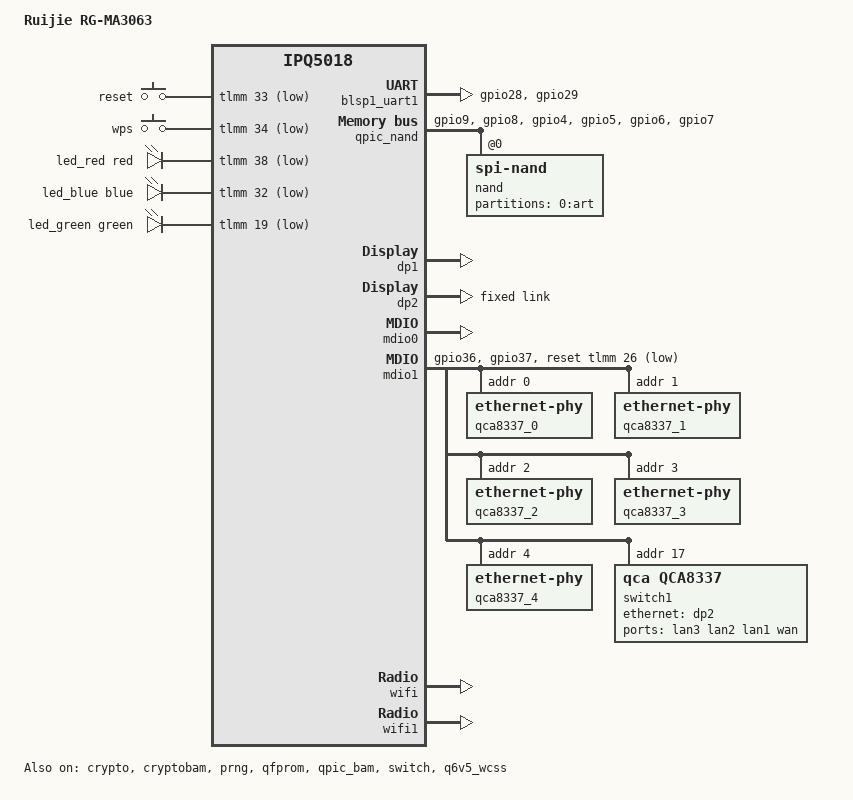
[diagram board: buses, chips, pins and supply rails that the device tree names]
// SPDX-License-Identifier: GPL-2.0-or-later OR MIT

/dts-v1/;

#include "ipq5018.dtsi"
#include "ipq5018-ess.dtsi"
#include "ipq5018-qcn6122.dtsi"

#include <dt-bindings/gpio/gpio.h>
#include <dt-bindings/input/input.h>
#include <dt-bindings/leds/common.h>

/ {
	model = "Ruijie RG-MA3063";
	compatible = "ruijie,rg-ma3063", "qcom,ipq5018";

	aliases {
		serial0 = &blsp1_uart1;
		led-boot = &led_green;
		led-failsafe = &led_red;
		led-running = &led_green;
		led-upgrade = &led_red;
		label-mac-device = <&dp1>;
	};

	chosen {
		bootargs-append = " root=/dev/ubiblock0_1 swiotlb=1 coherent_pool=2M";
		stdout-path = "serial0:115200n8";
	};

	keys {
		compatible = "gpio-keys";
		pinctrl-0 = <&button_pins>;
		pinctrl-names = "default";

		reset-button {
			label = "reset";
			gpios = <&tlmm 33 GPIO_ACTIVE_LOW>;
			linux,code = <KEY_RESTART>;
		};

		wps-button {
			label = "wps";
			gpios = <&tlmm 34 GPIO_ACTIVE_LOW>;
			linux,code = <KEY_WPS_BUTTON>;
		};
	};

	leds {
		compatible = "gpio-leds";
		pinctrl-0 = <&led_pins>;
		pinctrl-names = "default";

		led_red: led-red {
			gpios = <&tlmm 38 GPIO_ACTIVE_LOW>;
			color = <LED_COLOR_ID_RED>;
			function = LED_FUNCTION_STATUS;
		};

		led_blue: led-blue {
			gpios = <&tlmm 32 GPIO_ACTIVE_LOW>;
			color = <LED_COLOR_ID_BLUE>;
			function = LED_FUNCTION_STATUS;
		};

		led_green: led-green {
			gpios = <&tlmm 19 GPIO_ACTIVE_LOW>;
			color = <LED_COLOR_ID_GREEN>;
			function = LED_FUNCTION_STATUS;
		};
	};
};

&sleep_clk {
	clock-frequency = <32000>;
};

&xo_board_clk {
	clock-div = <4>;
	clock-mult = <1>;
};

&blsp1_uart1 {
	status = "okay";

	pinctrl-0 = <&serial_0_pins>;
	pinctrl-names = "default";
};

&crypto {
	status = "okay";
};

&cryptobam {
	status = "okay";
};

&prng {
	status = "okay";
};

&qfprom {
	status = "okay";
};

&qpic_bam {
	status = "okay";
};

&qpic_nand {
	pinctrl-0 = <&qpic_pins>;
	pinctrl-names = "default";
	status = "okay";

	nand@0 {
		compatible = "spi-nand";
		reg = <0>;
		nand-ecc-engine = <&qpic_nand>;
		nand-bus-width = <8>;

		partitions {
			compatible = "qcom,smem-part";

			partition-art {
				label = "0:art";
				read-only;

				nvmem-layout {
					compatible = "fixed-layout";
					#address-cells = <1>;
					#size-cells = <1>;

					hw_mac_addr: mac-address@0 {
						compatible = "mac-base";
						reg = <0x0 0x6>;
						#nvmem-cell-cells = <1>;
					};
				};
			};
		};
	};
};

&switch {
	status = "okay";

	switch_mac_mode = <MAC_MODE_SGMII_CHANNEL0>;

	qcom,port_phyinfo {
		port@0 {
			port_id = <1>;
			mdiobus = <&mdio0>;
			phy_address = <7>;
		};

		port@1 {
			port_id = <2>;
			mdiobus = <&mdio1>;
			forced-speed = <1000>;
			forced-duplex = <1>;
		};
	};
};

&dp1 {
	status = "okay";

	nvmem-cells = <&hw_mac_addr 0>;
	nvmem-cell-names = "mac-address";
};

&dp2 {
	status = "okay";

	nvmem-cells = <&hw_mac_addr 1>;
	nvmem-cell-names = "mac-address";

	fixed-link {
		speed = <1000>;
		full-duplex;
	};
};

&mdio0 {
	status = "okay";
};

&ge_phy {
	qcom,dac-preset-short-cable;
};

&mdio1 {
	status = "okay";

	pinctrl-0 = <&mdio1_pins>;
	pinctrl-names = "default";
	reset-gpios = <&tlmm 26 GPIO_ACTIVE_LOW>;
	reset-delay-us = <10000>;
	reset-post-delay-us = <150000>;

	qca8337_0: ethernet-phy@0 {
		reg = <0>;
	};

	qca8337_1: ethernet-phy@1 {
		reg = <1>;
	};

	qca8337_2: ethernet-phy@2 {
		reg = <2>;
	};

	qca8337_3: ethernet-phy@3 {
		reg = <3>;
	};

	qca8337_4: ethernet-phy@4 {
		reg = <4>;
	};

	switch1: ethernet-switch@17 {
		compatible = "qca,qca8337";
		reg = <17>;
		#address-cells = <1>;
		#size-cells = <0>;

		ports {
			#address-cells = <1>;
			#size-cells = <0>;

			port@1 {
				reg = <1>;
				label = "lan3";
				phy-handle = <&qca8337_0>;
			};

			port@2 {
				reg = <2>;
				label = "lan2";
				phy-handle = <&qca8337_1>;
			};

			port@3 {
				reg = <3>;
				label = "lan1";
				phy-handle = <&qca8337_2>;
			};

			port@4 {
				reg = <4>;
				label = "wan";
				phy-handle = <&qca8337_3>;
			};

			port@6 {
				reg = <6>;
				phy-mode = "sgmii";
				ethernet = <&dp2>;
				qca,sgmii-enable-pll;

				fixed-link {
					speed = <1000>;
					full-duplex;
				};
			};
		};
	};
};

&tlmm {
	button_pins: button-state {
		button-pins {
			pins = "gpio34", "gpio33";
			function = "gpio";
			drive-strength = <8>;
			bias-pull-up;
		};
	};

	led_pins: led-state {
		pins = "gpio38", "gpio32", "gpio19";
		function = "gpio";
		drive-strength = <8>;
		bias-disable;
	};

	mdio1_pins: mdio-state {
		mdc-pins {
			pins = "gpio36";
			function = "mdc";
			drive-strength = <8>;
			bias-pull-up;
		};

		mdio-pins {
			pins = "gpio37";
			function = "mdio";
			drive-strength = <8>;
			bias-pull-up;
		};
	};

	qpic_pins: qpic-state {
		clock-pins {
			pins = "gpio9";
			function = "qspi_clk";
			drive-strength = <8>;
			bias-disable;
		};

		cs-pins {
			pins = "gpio8";
			function = "qspi_cs";
			drive-strength = <8>;
			bias-disable;
		};

		data-pins {
			pins = "gpio4", "gpio5", "gpio6", "gpio7";
			function = "qspi_data";
			drive-strength = <8>;
			bias-disable;
		};
	};

	serial_0_pins: uart0-state {
		pins = "gpio28", "gpio29";
		function = "blsp0_uart1";
		drive-strength = <8>;
		bias-disable;
	};
};

&q6v5_wcss {
	status = "okay";
};

&wifi {
	qcom,rproc = <&q6_wcss_pd1>;
	qcom,ath11k-calibration-variant = "RUJIE-RG-MA3063";
	qcom,ath11k-fw-memory-mode = <1>;
	qcom,bdf-addr = <0x4c400000>;

	ieee80211-freq-limit = <2400000 2483000>;

	status = "okay";
};

&wifi1 {
	qcom,rproc = <&q6_wcss_pd2>;
	qcom,userpd-subsys-name = "q6v5_wcss_userpd2";
	qcom,ath11k-calibration-variant = "RUJIE-RG-MA3063";
	qcom,ath11k-fw-memory-mode = <1>;
	qcom,bdf-addr = <0x4d100000>;
	qcom,m3-dump-addr = <0x4df00000>;

	ieee80211-freq-limit = <5150000 5730000>;

	status = "okay";
};
